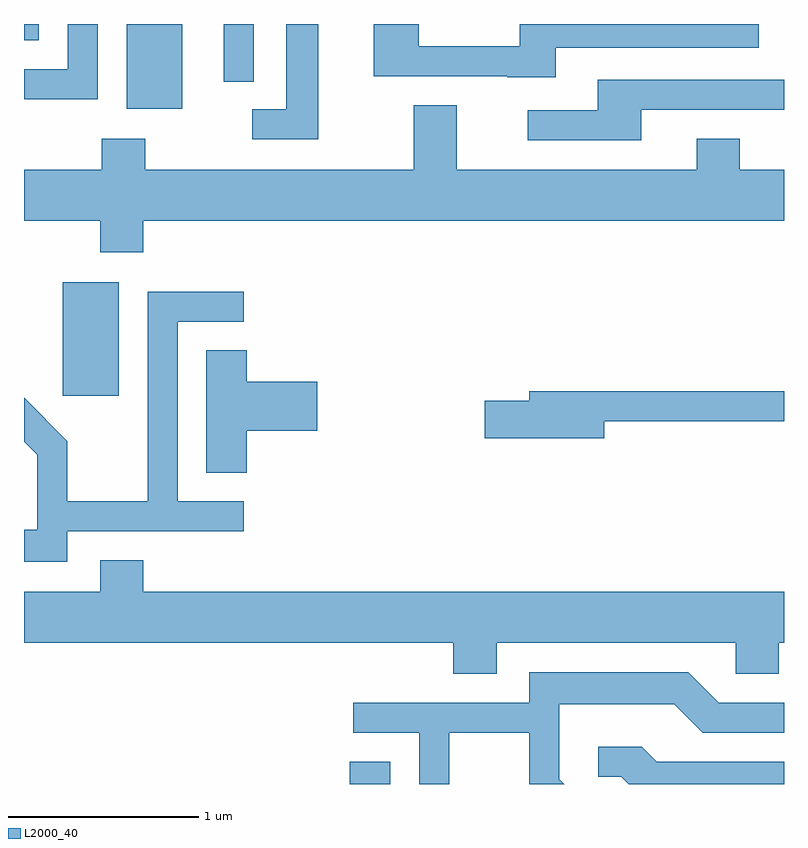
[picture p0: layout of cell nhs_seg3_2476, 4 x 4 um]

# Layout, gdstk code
import gdstk
lib = gdstk.Library(unit=1e-6, precision=1e-09)
def R(c, l, rs):  # rectangles x0, y0, x1, y1
    for r in rs: c.add(gdstk.rectangle(r[:2], r[2:], *l))
def P(c, l, *ps):  # polygons
    for p in ps: c.add(gdstk.Polygon(p, *l))
L2000_40 = (2000, 40)

nhs_seg3_2476 = lib.new_cell('nhs_seg3_2476')
R(nhs_seg3_2476, L2000_40, [(259.326,1171.892,259.539,1172.009), (257.816,1173.936,258.109,1174.534), (258.151,1175.446,258.444,1175.892), (258.661,1175.588,258.819,1175.892), (257.611,1175.806,257.689,1175.892)])
P(nhs_seg3_2476, L2000_40, [(259.159,1175.892),(258.991,1175.892),(258.991,1175.444),(258.813,1175.444),(258.813,1175.286),(259.159,1175.286)],
  [(260.409,1175.766),(261.478,1175.766),(261.478,1175.892),(260.221,1175.892),(260.221,1175.774),(259.689,1175.774),(259.689,1175.892),(259.451,1175.892),(259.451,1175.616),(260.155,1175.616),(260.155,1175.611),(260.409,1175.611)],
  [(257.999,1175.892),(257.841,1175.892),(257.841,1175.654),(257.611,1175.654),(257.611,1175.496),(257.999,1175.496)],
  [(260.859,1175.441),(261.611,1175.441),(261.611,1175.599),(260.631,1175.599),(260.631,1175.439),(260.263,1175.439),(260.263,1175.281),(260.859,1175.281)],
  [(258.239,1174.856),(261.611,1174.856),(261.611,1175.124),(261.379,1175.124),(261.379,1175.289),(261.151,1175.289),(261.151,1175.124),(259.889,1175.124),(259.889,1175.464),(259.661,1175.464),(259.661,1175.124),(258.249,1175.124),(258.249,1175.289),(258.021,1175.289),(258.021,1175.124),(257.611,1175.124),(257.611,1174.856),(258.011,1174.856),(258.011,1174.691),(258.239,1174.691)],
  [(257.839,1173.221),(258.767,1173.221),(258.767,1173.379),(258.419,1173.379),(258.419,1174.326),(258.767,1174.326),(258.767,1174.484),(258.261,1174.484),(258.261,1173.379),(257.839,1173.379),(257.839,1173.697),(257.611,1173.925),(257.611,1173.694),(257.681,1173.624),(257.681,1173.229),(257.611,1173.229),(257.611,1173.061),(257.839,1173.061)],
  [(258.784,1173.751),(259.154,1173.751),(259.154,1174.009),(258.784,1174.009),(258.784,1174.174),(258.571,1174.174),(258.571,1173.531),(258.784,1173.531)],
  [(260.664,1173.801),(261.611,1173.801),(261.611,1173.959),(260.271,1173.959),(260.271,1173.909),(260.036,1173.909),(260.036,1173.711),(260.664,1173.711)],
  [(260.099,1172.636),(261.356,1172.636),(261.356,1172.471),(261.584,1172.471),(261.584,1172.636),(261.611,1172.636),(261.611,1172.904),(258.239,1172.904),(258.239,1173.069),(258.011,1173.069),(258.011,1172.904),(257.611,1172.904),(257.611,1172.636),(259.871,1172.636),(259.871,1172.471),(260.099,1172.471)],
  [(259.849,1172.161),(260.271,1172.161),(260.271,1171.892),(260.454,1171.892),(260.429,1171.917),(260.429,1172.311),(261.034,1172.311),(261.183,1172.161),(261.611,1172.161),(261.611,1172.319),(261.267,1172.319),(261.106,1172.479),(260.271,1172.479),(260.271,1172.319),(259.343,1172.319),(259.343,1172.161),(259.691,1172.161),(259.691,1171.892),(259.849,1171.892)],
  [(261.611,1172.009),(260.942,1172.009),(260.861,1172.089),(260.633,1172.089),(260.633,1171.931),(260.754,1171.931),(260.793,1171.892),(261.611,1171.892)])

lib.write_gds('nhs_seg3_2476.gds')
